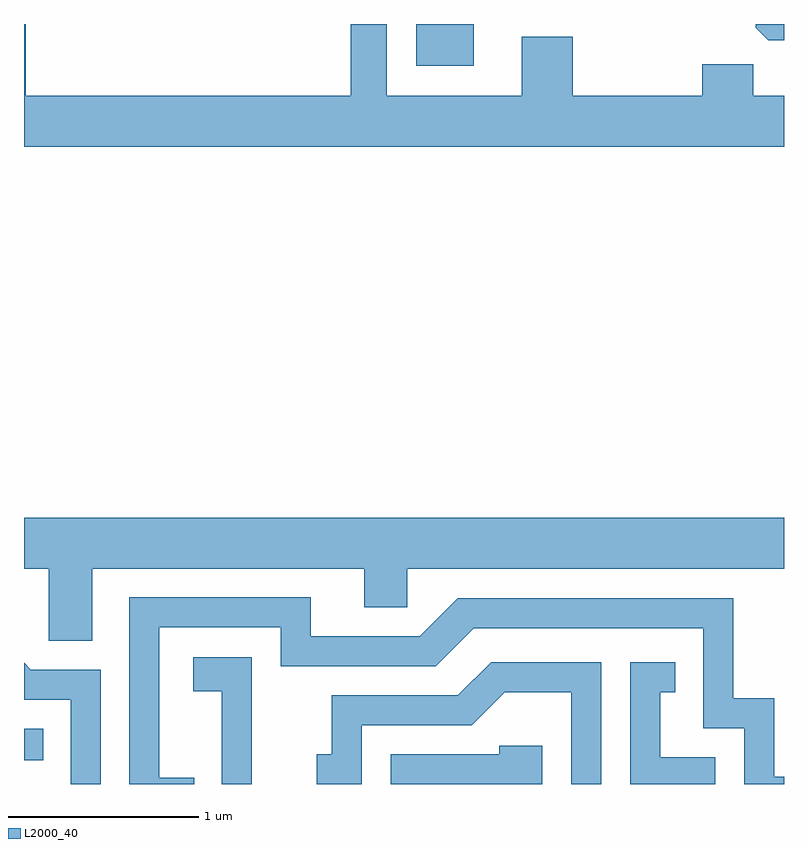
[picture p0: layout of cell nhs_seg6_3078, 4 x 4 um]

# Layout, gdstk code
import gdstk
lib = gdstk.Library(unit=1e-6, precision=1e-09)
def R(c, l, rs):  # rectangles x0, y0, x1, y1
    for r in rs: c.add(gdstk.rectangle(r[:2], r[2:], *l))
def P(c, l, *ps):  # polygons
    for p in ps: c.add(gdstk.Polygon(p, *l))
L2000_40 = (2000, 40)

nhs_seg6_3078 = lib.new_cell('nhs_seg6_3078')
R(nhs_seg6_3078, L2000_40, [(277.611,1622.286,277.713,1622.454), (279.676,1625.941,279.979,1626.162)])
P(nhs_seg6_3078, L2000_40, [(281.611,1625.784),(281.449,1625.784),(281.449,1625.949),(281.181,1625.949),(281.181,1625.784),(280.499,1625.784),(280.499,1626.094),(280.231,1626.094),(280.231,1625.784),(279.519,1625.784),(279.519,1626.162),(279.331,1626.162),(279.331,1625.784),(277.619,1625.784),(277.619,1626.162),(277.611,1626.162),(277.611,1625.516),(281.611,1625.516)],
  [(281.611,1626.162),(281.461,1626.162),(281.461,1626.142),(281.527,1626.076),(281.611,1626.076)],
  [(277.969,1623.296),(279.401,1623.296),(279.401,1623.091),(279.629,1623.091),(279.629,1623.296),(281.611,1623.296),(281.611,1623.564),(277.611,1623.564),(277.611,1623.296),(277.741,1623.296),(277.741,1622.916),(277.969,1622.916)],
  [(278.508,1622.194),(278.324,1622.194),(278.324,1622.986),(278.961,1622.986),(278.961,1622.781),(279.777,1622.781),(279.977,1622.981),(281.186,1622.981),(281.186,1622.456),(281.401,1622.456),(281.401,1622.162),(281.611,1622.162),(281.611,1622.199),(281.559,1622.199),(281.559,1622.614),(281.344,1622.614),(281.344,1623.139),(279.894,1623.139),(279.694,1622.939),(279.119,1622.939),(279.119,1623.144),(278.166,1623.144),(278.166,1622.162),(278.508,1622.162)],
  [(278.809,1622.829),(278.501,1622.829),(278.501,1622.651),(278.651,1622.651),(278.651,1622.162),(278.809,1622.162)],
  [(281.249,1622.304),(280.959,1622.304),(280.959,1622.646),(281.038,1622.646),(281.038,1622.804),(280.801,1622.804),(280.801,1622.162),(281.249,1622.162)],
  [(279.389,1622.471),(279.967,1622.471),(280.142,1622.646),(280.491,1622.646),(280.491,1622.162),(280.649,1622.162),(280.649,1622.804),(280.069,1622.804),(279.894,1622.629),(279.231,1622.629),(279.231,1622.319),(279.153,1622.319),(279.153,1622.162),(279.389,1622.162)],
  [(278.014,1622.764),(277.647,1622.764),(277.611,1622.8),(277.611,1622.606),(277.856,1622.606),(277.856,1622.162),(278.014,1622.162)],
  [(280.339,1622.364),(280.111,1622.364),(280.111,1622.319),(279.541,1622.319),(279.541,1622.162),(280.339,1622.162)])

lib.write_gds('nhs_seg6_3078.gds')
